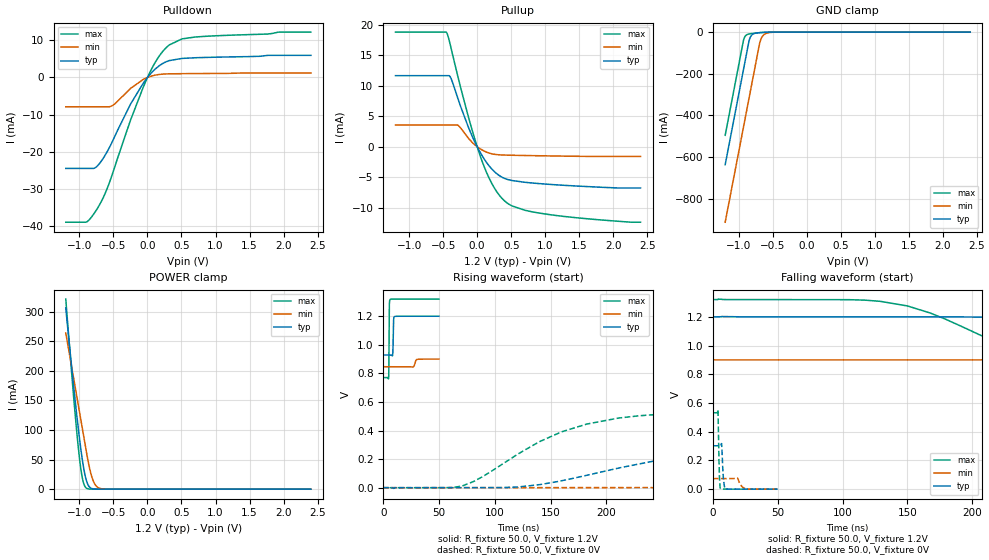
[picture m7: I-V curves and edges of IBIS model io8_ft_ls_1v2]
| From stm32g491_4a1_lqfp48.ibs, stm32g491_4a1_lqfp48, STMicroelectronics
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[Model]   io8_ft_ls_1v2
Model_type I/O
Polarity   Non-Inverting
Enable   Active-Low
| CAP_THRESHOLD on pad IOFT is "UDTCAPC" :
| Rising=30.0% of vddiom   Falling=70.0% of vddiom
| C_comp min and max val. don't necessarily correlate with the min and max pvt
| but are the smallest and greatest pad capacitance found.
| var   typ   min   max
C_comp   1.83455pF  1.76050pF  1.83491pF
|C_comp_pullup   1.06365pF  1.01770pF  1.04720pF
|C_comp_pulldown   770.90000fF  742.80001fF  787.71000fF
Vinl = 270.0mV
Vinh = 924.0mV
Vmeas = 600.0mV   | Reference voltage for timing measurements
Cref  = 50.0pF   | Timing specification test load capacitance value
Rref  = 100.0MOhm   | Timing specification test load resistance value
Vref  = 600.0mV   | Timing specification test load voltage
[Model Spec]
| TIME_THRESHOLD on pin ZIV12 is "CMOS" :
| Rising=50.0% of vdd   Falling=50.0% of vdd
Vinl 458.70000mV 364.70000mV 499.70000mV
Vinh 728.30000mV 548.30000mV 792.30000mV
| variable   typ   min   max
[Temperature Range] 25.0 140.0 -40.0
| variable   typ   min   max
[Voltage Range] 1.2V 900.0mV 1.32V
| variable   typ   min   max
[POWER Clamp Reference] 1.2V 900.0mV 1.32V
| variable   typ   min   max
[GND Clamp Reference] 0V 0V 0V
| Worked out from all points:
|   slope of the pulldown table from 0 to 0.18 V, typ, clamps not added: 55.6 ohm
|   slope of the pullup table from 0 to 0.18 V, typ, clamps not added: 56.3 ohm
|   GND clamp passes 1 mA (typ) near -0.61 V on its own axis
|   POWER clamp passes 1 mA (typ) near -0.81 V on its own axis
|   rising waveform, R_fixture 50.0, V_fixture 1.2V: 20-80 % time 432ps typ, 1.3ns min, 278ps max; typ from 0.928 V to 1.2 V
|   falling waveform, R_fixture 50.0, V_fixture 1.2V: 20-80 % time 167ns typ, 491ns min, 99.5ns max; typ from 1.2 V to 0.928 V
|   rising waveform, R_fixture 50.0, V_fixture 0V: 20-80 % time 127ns typ, 295ns min, 78.9ns max; typ from 0 V to 0.302 V
|   falling waveform, R_fixture 50.0, V_fixture 0V: 20-80 % time 1.14ns typ, 2.98ns min, 786ps max; typ from 0.302 V to 0 V
[POWER Clamp]
-1.2V     306.2mA    263.9mA    321.2mA
-1.09V    180mA      191mA      163.4mA
-1.05V    136.9mA    164.5mA    110.9mA
-1.01V    96.55mA    138mA      64.02mA
-960mV    52.29mA    104.9mA    20.68mA
-930mV    31.08mA    85.01mA    7.282mA
-900mV    15.67mA    65.13mA    2.025mA
-850mV    3.417mA    35.2mA     196.2uA
-800mV    570.2uA    14.97mA    18.13uA
-750mV    88.98uA    4.952mA    1.667uA
-680mV    6.495uA    823.9uA    58.96nA
2.4V      0A         0A         0A
[GND Clamp]
-1.2V     -636.9mA   -913.2mA   -495.8mA
-940mV    -194.9mA   -471.2mA   -53.78mA
-920mV    -160.9mA   -437.2mA   -28.06mA
-890mV    -109.9mA   -386.2mA   -14.28mA
-850mV    -43.09mA   -318.2mA   -9.18mA
-820mV    -18.33mA   -267.2mA   -7.516mA
-780mV    -7.695mA   -199.2mA   -5.87mA
-690mV    -2.548mA   -49.42mA   -2.9mA
-660mV    -1.868mA   -24.06mA   -2.112mA
-630mV    -1.326mA   -12.18mA   -1.447mA
-430mV    -19.32uA   -177.8uA   -8.091uA
2.4V      300pA      77.2nA     208.1pA
| variable   typ   min   max
[Pullup Reference] 1.2V 900.0mV 1.32V
| variable   typ   min   max
[Pulldown Reference] 0V 0V 0V
[Pullup]
-1.2V     11.66mA    3.558mA    18.8mA
-450mV    11.66mA    3.558mA    18.75mA
-390mV    11.34mA    3.558mA    16.48mA
-280mV    7.814mA    3.503mA    11.36mA
-110mV    2.689mA    1.153mA    4.138mA
50mV      -1.039mA   -379.5uA   -1.685mA
140mV     -2.617mA   -893.8uA   -4.276mA
240mV     -3.942mA   -1.22mA    -6.527mA
430mV     -5.313mA   -1.379mA   -9.149mA
700mV     -5.836mA   -1.444mA   -10.42mA
1.08V     -6.193mA   -1.513mA   -11.17mA
2.4V      -6.768mA   -1.592mA   -12.38mA
[Pulldown]
-1.2V     -24.47mA   -7.9mA     -38.94mA
-890mV    -24.47mA   -7.9mA     -38.83mA
-720mV    -23.49mA   -7.9mA     -34.76mA
-610mV    -20.54mA   -7.9mA     -30.69mA
-510mV    -17.01mA   -7.489mA   -25.69mA
-250mV    -7.205mA   -2.955mA   -11.53mA
0V        -16fA      0A         0A
160mV     2.97mA     779.8uA    5.417mA
320mV     4.547mA    983.4uA    8.763mA
510mV     5.135mA    1.031mA    10.4mA
700mV     5.311mA    1.057mA    10.88mA
2.4V      5.965mA    1.209mA    12.22mA
[Ramp]
dV/dt_r 181.26172mV/127.09367ns 44.06031mV/295.17618ns 319.20445mV/78.91734ns
dV/dt_f 162.93173mV/166.53891ns 32.17941mV/468.67509ns 329.57818mV/99.46975ns
R_load = 50.0
| Removed startup time: 0s 0s 0s  .
| Removed end time: 49.9ns.
[Rising Waveform]
R_fixture   = 50.0
V_fixture   = 1.2V
V_fixture_min = 900.0mV
V_fixture_max = 1.32V
0s        928.4mV    846.3mV    770.7mV
4.8ns     928.5mV    846.4mV    763.2mV
5.1ns     928.5mV    846.4mV    887.9mV
5.3ns     928.5mV    846.4mV    1.143V
5.5ns     928.5mV    846.4mV    1.284V
6.1ns     928.5mV    846.4mV    1.316V
8.4ns     926.5mV    846.4mV    1.32V
9.3ns     1.171V     846.4mV    1.32V
10.1ns    1.197V     846.4mV    1.32V
49.9ns    1.2V       899.9mV    1.32V
| Removed startup time: 0s 0s 0s  .
| Removed end time: 2.9999us.
[Falling Waveform]
R_fixture   = 50.0
V_fixture   = 1.2V
V_fixture_min = 900.0mV
V_fixture_max = 1.32V
0s        1.2V       900mV      1.32V
128.4ns   1.2V       900mV      1.309V
167.6ns   1.2V       900mV      1.227V
244ns     1.189V     900mV      938.9mV
267.2ns   1.176V     900mV      887.1mV
312.7ns   1.136V     900mV      829.5mV
416.9ns   1.017V     900mV      784.2mV
527.1ns   960.2mV    899.9mV    773.6mV
789.5ns   931.6mV    897.9mV    770.8mV
3us       928.4mV    846.4mV    770.7mV
| Removed startup time: 0s 0s 0s  .
| Removed end time: 1.9999us.
[Rising Waveform]
R_fixture   = 50.0
V_fixture   = 0V
V_fixture_min = 0V
V_fixture_max = 0V
0s        -21.55uV   -19.21uV   -16.72uV
70.8ns    -14.52uV   -5.362uV   12.13mV
121.2ns   5.11mV     -2.911uV   237.5mV
159.7ns   48.13mV    4.858uV    390.3mV
210.7ns   136.7mV    43.95uV    487mV
277.5ns   227.6mV    269.3uV    522.7mV
328.2ns   266.1mV    1.529mV    529.1mV
483.4ns   299.5mV    19.45mV    532mV
966.6ns   302.1mV    70.44mV    532mV
2us       302.1mV    73.43mV    532mV
| Removed startup time: 0s 0s 0s  .
| Removed end time: 49.9ns.
[Falling Waveform]
R_fixture   = 50.0
V_fixture   = 0V
V_fixture_min = 0V
V_fixture_max = 0V
0s        302.1mV    73.45mV    532mV
3.9ns     302.1mV    73.44mV    547.9mV
4.8ns     302mV      73.44mV    150.4mV
5.8ns     301.1mV    73.44mV    2.967mV
6.7ns     315mV      73.44mV    1.089mV
8.1ns     72.96mV    73.44mV    240.9uV
9.7ns     1.263mV    73.44mV    103.6uV
18.9ns    18.32uV    77.83mV    27.76uV
26.1ns    15.27uV    960.1uV    26.42uV
49.9ns    16.04uV    8.939uV    27.43uV
